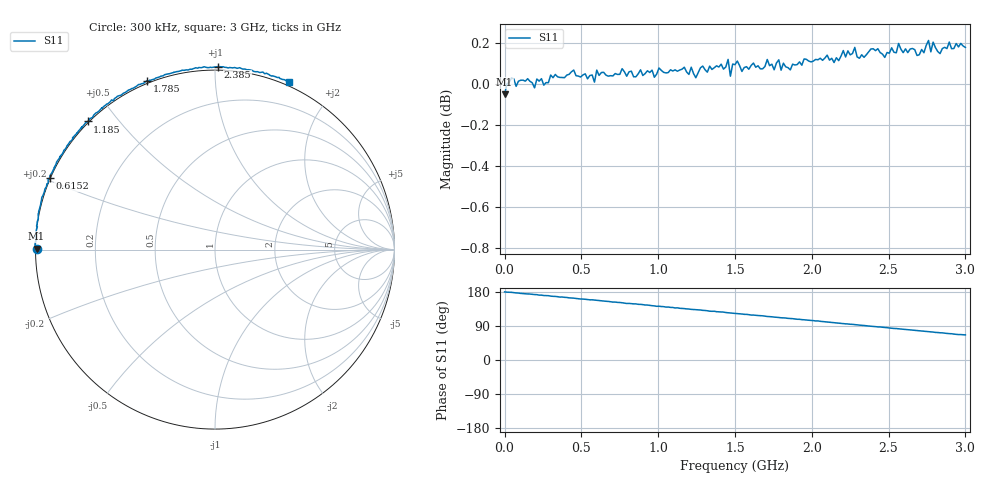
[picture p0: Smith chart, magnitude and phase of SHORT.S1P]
! HP8714ES: E.06.01
! Reflection DATA:
# MHz  S  RI  R 50.0
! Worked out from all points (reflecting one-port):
!   201 points, 300 kHz to 3 GHz, reference 50 ohm
!   lowest |S11| = -0.1 dB at 300 kHz (marker M1), VSWR 333.18, Z = 0.15 + j0.147 ohm
!   phase of S11 starts at 180 deg and turns -113 deg over the sweep
!   S11 on the Smith chart (normalised r, x): 300 kHz: 0.00, +0.00; 615.2 MHz: -0.00, +0.21; 1.185 GHz: -0.00, +0.42; 1.785 GHz: -0.01, +0.67; 2.385 GHz: -0.02, +1.02; 3 GHz: -0.03, +1.53
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0.3  -0.994 0.00583
150.285  -0.998 0.098
390.261  -0.9709 0.2532
615.239  -0.9214 0.4004
750.225  -0.8852 0.4763
795.221  -0.862 0.5152
855.215  -0.8519 0.5311
930.207  -0.8255 0.5773
990.201  -0.7889 0.6233
1005.199  -0.794 0.6224
1110.189  -0.7408 0.6833
1125.188  -0.7448 0.6778
1185.181  -0.7097 0.7139
1275.172  -0.6748 0.7501
1335.167  -0.6327 0.7871
1365.164  -0.63 0.7881
1500.15  -0.5487 0.8489
1680.132  -0.4514 0.9017
1785.121  -0.3791 0.9399
1890.111  -0.3191 0.9588
2025.098  -0.2294 0.9874
2040.096  -0.2297 0.9871
2250.075  -0.0769 1.013
2385.061  0.0165 1.019
2640.036  0.1865 1.002
2760.024  0.2673 0.989
2955.005  0.3972 0.9404
3000  0.4106 0.9343
